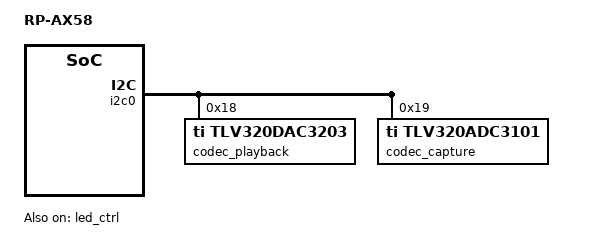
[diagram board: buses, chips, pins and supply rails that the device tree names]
#include "6756.dtsi"

/ {
	model="RP-AX58";

	memory_controller {
		memcfg = <(BP_DDR_SPEED_933_13_13_13 | \
			BP_DDR_TOTAL_SIZE_256MB    | \
			BP_DDR_DEVICE_WIDTH_16     | \
			BP_DDR_TOTAL_WIDTH_16BIT   | \
			BP_DDR_6756_DEFAULT)>;
	};
/*
	buttons {
		compatible = "brcm,buttons";
		reset_button {
			ext_irq = <&bca_extintr 4 BCA_GPIO_ACTIVE_LOW (BCA_EXTINTR_TYPE_LOW_LEVEL | BCA_EXTINTR_TYPE_SENSE_EDGE)>;
			press {
				print = "Button Press -- Hold for 5s to do restore to default";
			};
			hold {
				rst_to_dflt = <5>;
			};
			release {
				reset = <0>;
			};	
		};
		ses_button {
			ext_irq = <&bca_extintr 9 BCA_GPIO_ACTIVE_LOW (BCA_EXTINTR_TYPE_LOW_LEVEL | BCA_EXTINTR_TYPE_SENSE_EDGE)>;
			release {
				ses_short_period = <0>;
				ses_long_period = <3>;
			};
		};
	};
*/
};

&i2c0 {
	pinctrl-names="default";
	pinctrl-0 = <&i2c_sda_pin_16 &i2c_scl_pin_17>;
	status = "okay";
	
	#address-cells = <1>;
	#size-cells = <0>;
	codec_playback:codec_palyback@18{
		compatible = "ti,tlv320dac3203";
		reg = <0x18>;
	};
	codec_capture:codec_capture@19{
		compatible = "ti,tlv320adc3101";
		reg = <0x19>;
	};
};


&mdio_sf2 {
	phy_ge:8 {
		status = "okay";
	};
	phy_rgmii:rgmii {
		reg = <25>;
	phy-reset = <&gpioc 10 GPIO_ACTIVE_LOW>;
		status = "okay";
	};
};

&switch0 {
	pinctrl-names = "default", "rgmii";
	pinctrl-0 = <&a_rgmii_mdc_pin_68 &a_rgmii_mdio_pin_69 &rgmii_pins>;
	pinctrl-1 = <&rgmii_pins>;

	ports {
		port0@0 {
			phy-handle = <&phy_ge>;
			status = "okay";
		};
    };
};

&legacy_leds {
	wl-sess-led = <&led4>;
	wl0-led = <&led3>;
	wl1-led = <&led3>;
};
&led_ctrl {
    status="okay";

	led0: port_0-led-0-pin_0 {
		hardware_led;
		active_high;
		link = <(LED_SPEED_100|LED_SPEED_1G)>;
		status = "okay";
	};
	led1: port_0-led-3-pin_3 {
		hardware_led;
		active_low;
		activity = <LED_SPEED_GBE>;
		status = "okay";
	};
	led2: sw_led_01-pin_1 {
		active_low;
		status = "okay";
	};
	led3:sw_led_14 {
		pinctrl-0 = <&a_per_led_14_pin_14>;
		active_low;
		status="okay";
		brightness = <255>;
	};
	led4:sw_led_15 {
		pinctrl-0 = <&a_per_led_15_pin_15>;
		active_low;
		status="okay";
		brightness = <255>;
	};
	led5:sw_led_05 {
		pinctrl-0 = <&a_per_led_05_pin_5>;
		active_low;
		status="okay";
		brightness = <255>;
	};
	led6:sw_led_07 {
		pinctrl-0 = <&a_per_led_07_pin_7>;
		active_low;
		status="okay";
		brightness = <255>;
	};
	led7:sw_led_11 {
		pinctrl-0 = <&a_per_led_11_pin_11>;
		active_low;
		status="okay";
		brightness = <255>;
	};
	led8:sw_led_12 {
		pinctrl-0 = <&a_per_led_12_pin_12>;
		active_high;
		status="okay";
		brightness = <0>;
	};
};



